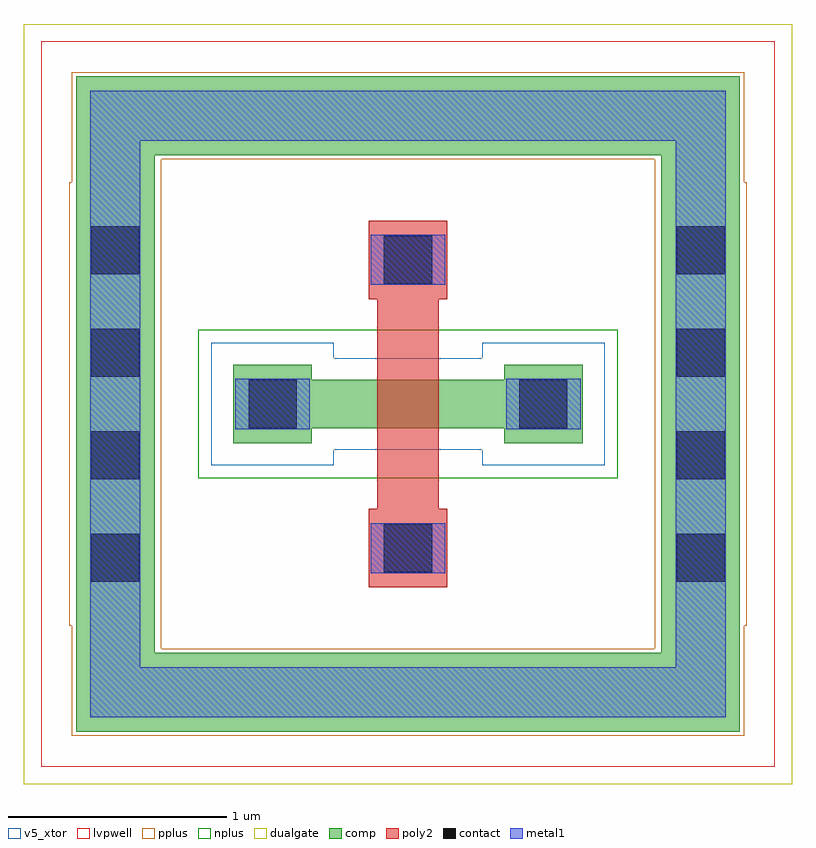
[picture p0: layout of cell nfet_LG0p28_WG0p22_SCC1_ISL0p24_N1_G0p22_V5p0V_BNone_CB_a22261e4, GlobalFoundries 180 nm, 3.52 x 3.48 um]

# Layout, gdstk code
import gdstk
lib = gdstk.Library(unit=1e-6, precision=1e-09)
def R(c, l, rs):  # rectangles x0, y0, x1, y1
    for r in rs: c.add(gdstk.rectangle(r[:2], r[2:], *l))
def A(c, l, x, y, w, h, nx, ny, dx, dy):  # array of equal rectangles
    R(c, l, [(x+i*dx, y+j*dy, x+i*dx+w, y+j*dy+h) for i in range(nx) for j in range(ny)])
def P(c, l, *ps):  # polygons
    for p in ps: c.add(gdstk.Polygon(p, *l))
comp = (22, 0)
poly2 = (30, 0)
pplus = (31, 0)
nplus = (32, 0)
contact = (33, 0)
metal1 = (34, 0)
dualgate = (55, 0)
v5_xtor = (112, 1)
lvpwell = (204, 0)

nfet_lg0p28_wg0p22_scc1_ = lib.new_cell('nfet_LG0p28_WG0p22_SCC1_ISL0p24_N1_G0p22_V5p0V_BNone_CB_a22261e4')
R(nfet_lg0p28_wg0p22_scc1_, comp, [(-1.52,-1.5,1.52,-1.14), (-1.52,-1.5,-1.16,1.5), (1.16,-1.5,1.52,1.5), (-1.52,-0.985,-1.16,0.985), (1.16,-0.985,1.52,0.985), (-0.8,-0.18,-0.44,-0.11), (-0.8,-0.18,-0.44,0.18), (0.44,-0.18,0.8,-0.11), (0.44,-0.18,0.8,0.18), (-0.735,-0.11,0.735,0.11), (-0.8,0.11,-0.44,0.18), (0.44,0.11,0.8,0.18), (-1.52,1.14,1.52,1.5)])
R(nfet_lg0p28_wg0p22_scc1_, poly2, [(-0.18,-0.84,0.18,-0.48), (-0.14,-0.66,0.14,0.66), (-0.18,0.48,0.18,0.84)])
R(nfet_lg0p28_wg0p22_scc1_, pplus, [(-1.54,-1.52,1.54,-1.12), (-1.54,-1.12,-1.13,-1.015), (1.13,-1.12,1.54,-1.015), (-1.55,-1.015,-1.13,1.015), (1.13,-1.015,1.55,1.015), (-1.54,1.015,-1.13,1.12), (1.13,1.015,1.54,1.12), (-1.54,1.12,1.54,1.52)])
R(nfet_lg0p28_wg0p22_scc1_, nplus, [(-0.96,-0.34,0.96,0.34)])
A(nfet_lg0p28_wg0p22_scc1_, contact, -1.45, -0.815, 0.22, 0.22, 1, 4, 0, 0.47)
A(nfet_lg0p28_wg0p22_scc1_, contact, 1.23, -0.815, 0.22, 0.22, 1, 4, 0, 0.47)
R(nfet_lg0p28_wg0p22_scc1_, contact, [(-0.11,-0.77,0.11,-0.55), (-0.73,-0.11,-0.51,0.11), (0.51,-0.11,0.73,0.11), (-0.11,0.55,0.11,0.77)])
R(nfet_lg0p28_wg0p22_scc1_, metal1, [(-1.455,-1.435,1.455,-1.205), (-1.455,-1.435,-1.225,1.435), (1.225,-1.435,1.455,1.435), (-1.455,-0.975,-1.225,0.975), (1.225,-0.975,1.455,0.975), (-0.17,-0.775,0.17,-0.545), (-0.79,-0.115,-0.45,0.115), (0.45,-0.115,0.79,0.115), (-0.17,0.545,0.17,0.775), (-1.455,1.205,1.455,1.435)])
R(nfet_lg0p28_wg0p22_scc1_, dualgate, [(-1.76,-1.74,1.76,1.74)])
P(nfet_lg0p28_wg0p22_scc1_, v5_xtor, [(-0.9,-0.28),(-0.9,0.28),(-0.34,0.28),(-0.34,0.21),(0.34,0.21),(0.34,0.28),(0.9,0.28),(0.9,-0.28),(0.34,-0.28),(0.34,-0.21),(-0.34,-0.21),(-0.34,-0.28)])
R(nfet_lg0p28_wg0p22_scc1_, lvpwell, [(-1.68,-1.66,1.68,1.66)])

lib.write_gds('nfet_LG0p28_WG0p22_SCC1_ISL0p24_N1_G0p22_V5p0V_BNone_CB_a22261e4.gds')
